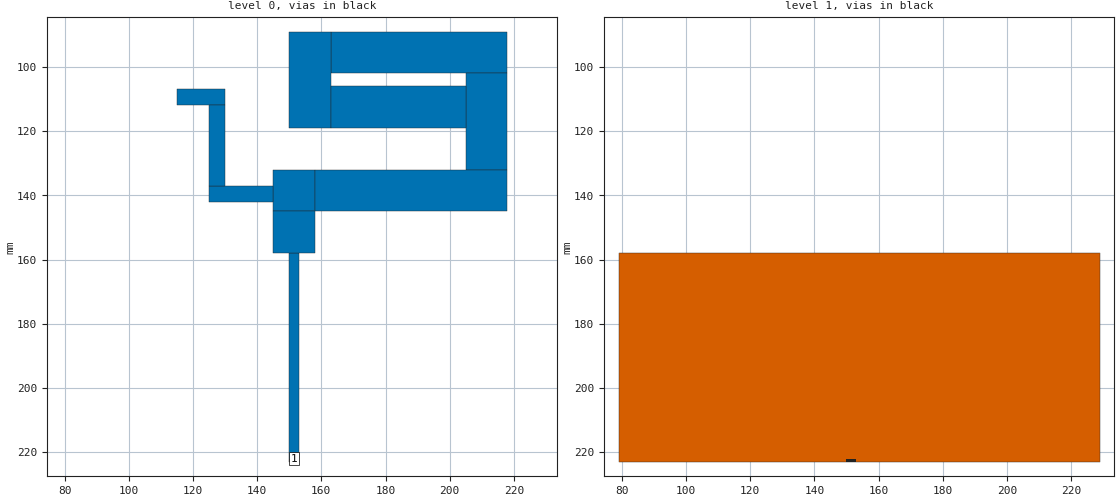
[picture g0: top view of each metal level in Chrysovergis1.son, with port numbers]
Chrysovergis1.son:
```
FTYP SONPROJ 3 ! Sonnet Project File
VER 11.54
HEADER
LIC Sonn.1.12345
DAT 05/21/2016 20:06:32
BUILT_BY_CREATED xgeom 11.54 05/15/2016 15:53:35
BUILT_BY_SAVED xgeom 11.54
MDATE 05/21/2016 20:06:32
HDATE 05/21/2016 20:06:32
END HEADER
DIM
FREQ GHZ
IND NH
LNG MM
ANG DEG
CON /OH
CAP PF
RES OH
END DIM
FREQ
ABS 0.1 1.0 
END FREQ
CONTROL
ABS
OPTIONS  -d 
SPEED 0
CACHE_ABS 1
TARG_ABS 300
Q_ACC N
END CONTROL
GEO
TMET "Free Space" 0 FREESPACE 376.7303136 0 0 0
BMET "Free Space" 0 FREESPACE 376.7303136 0 0 0
BOX 2 300 300 600 600 20 0
      20 1 1 0 0 0 0 "Air"
      1.6 4.2 1 0.02 0 0 0 "FR4"
      20 1 1 0 0 0 0 "Air"
POR1 STD
POLY 8 1
0
1 50 0 0 0 151.5000009 222.0000007 
NUM 13
VIA POLYGON
0 5 -1 N 8 1 1 100 100 0 0 0 Y
TOLEVEL 1
150.0000009 222.0000007
153.0000009 222.0000007
153.0000009 223.0000007
150.0000009 223.0000007
150.0000009 222.0000007
END
0 5 -1 N 29 1 1 100 100 0 0 0 Y
150.0000074 158.0000077
153.0000074 158.0000077
153.0000074 223.0000077
150.0000074 223.0000077
150.0000074 158.0000077
END
0 5 -1 N 50 1 1 100 100 0 0 0 Y
145.0000014 132.0000022
158.0000014 132.0000022
158.0000014 145.0000022
145.0000014 145.0000022
145.0000014 132.0000022
END
0 5 -1 N 132 1 1 100 100 0 0 0 Y
163.0000074 89.0000001
218.0000074 89.0000001
218.0000074 102.0000001
163.0000074 102.0000001
163.0000074 89.0000001
END
0 5 -1 N 155 1 1 100 100 0 0 0 Y
204.9999967 102.0000015
217.9999967 102.0000015
217.9999967 132.0000015
204.9999967 132.0000015
204.9999967 102.0000015
END
0 5 -1 N 158 1 1 100 100 0 0 0 Y
145.0000014 145.0000022
158.0000014 145.0000022
158.0000014 158.0000022
145.0000014 158.0000022
145.0000014 145.0000022
END
0 5 -1 N 160 1 1 100 100 0 0 0 Y
149.9999967 89.0000015
162.9999967 89.0000015
162.9999967 119.0000015
149.9999967 119.0000015
149.9999967 89.0000015
END
0 5 -1 N 166 1 1 100 100 0 0 0 Y
163.0000006 106.000003
205.0000006 106.000003
205.0000006 119.000003
163.0000006 119.000003
163.0000006 106.000003
END
0 5 -1 N 172 1 1 100 100 0 0 0 Y
158.0000103 132.0000054
218.0000103 132.0000054
218.0000103 145.0000054
158.0000103 145.0000054
158.0000103 132.0000054
END
0 5 -1 N 203 1 1 100 100 0 0 0 Y
124.9999947 136.9999924
144.9999947 136.9999924
144.9999947 141.9999924
124.9999947 141.9999924
124.9999947 136.9999924
END
0 5 -1 N 217 1 1 100 100 0 0 0 Y
114.9999956 107.0000018
129.9999956 107.0000018
129.9999956 112.0000018
114.9999956 112.0000018
114.9999956 107.0000018
END
0 5 -1 N 220 1 1 100 100 0 0 0 Y
124.9999947 111.9999967
129.9999947 111.9999967
129.9999947 136.9999967
124.9999947 136.9999967
124.9999947 111.9999967
END
1 5 -1 N 68 1 1 100 100 0 0 0 Y
78.99999713 157.9999938
228.9999971 157.9999938
228.9999971 222.9999938
78.99999713 222.9999938
78.99999713 157.9999938
END
END GEO
OPT
MAX 100
VARS
END OPT
VARSWP
END VARSWP
QSG
IMPORT NO
EXTRA_METAL NO
UNITS YES
ALIGN NO
REF NO
VIEW_RES YES
METALS NO
USED YES
END QSG
```
